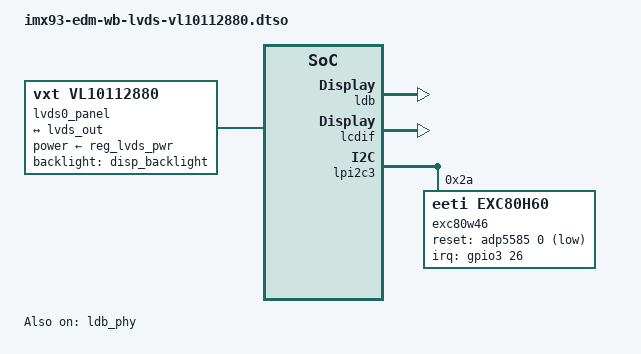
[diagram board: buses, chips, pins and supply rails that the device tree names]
// SPDX-License-Identifier: (GPL-2.0 OR MIT)
/*
 * Copyright 2024 TechNexion Ltd.
 *
 * Author: Alex Fang <alex.fang@technexion.com>
 *
 */

/dts-v1/;
/plugin/;

#include <dt-bindings/interrupt-controller/irq.h>
#include <dt-bindings/gpio/gpio.h>

&{/} {
	reg_lvds_pwr: regulator_lvdspwr {
		status = "okay";
	};

	reg_lvds_backlight_pwr: regulator_lvdsblpwr {
		status = "okay";
	};

	disp_backlight: disp_backlight {
		status = "okay";
	};

	lvds0_panel {
		compatible = "vxt,vl10112880", "panel-lvds";
		backlight = <&disp_backlight>;
		power-supply = <&reg_lvds_pwr>;

		data-mapping = "vesa-24";
		height-mm = <161>;
		width-mm = <243>;

		panel-timing {
			clock-frequency = <71100000>;
			hactive = <1280>;
			vactive = <800>;
			hback-porch = <40>;
			hfront-porch = <40>;
			vback-porch = <10>;
			vfront-porch = <3>;
			hsync-len = <80>;
			vsync-len = <10>;
			de-active = <1>;
		};

		port {
			panel_lvds_in: endpoint {
				remote-endpoint = <&lvds_out>;
			};
		};
	};
};

&ldb {
	status = "okay";
	lvds-channel@0 {
		#address-cells = <1>;
		#size-cells = <0>;
		fsl,data-mapping = "spwg";
		fsl,data-width = <24>;
		status = "okay";

		port@1 {
			reg = <1>;

			lvds_out: endpoint {
				remote-endpoint = <&panel_lvds_in>;
			};
		};
	};
};

&ldb_phy {
	status = "okay";
};

&lcdif {
	status = "okay";
	assigned-clock-rates = <498000000>, <71100000>, <400000000>, <133333333>;
};

&lpi2c3 {
	#address-cells = <1>;
	#size-cells = <0>;
	status = "okay";

	exc80w46: touchscreen@2a {
		compatible = "eeti,exc80h60";
		pinctrl-names = "default";
		pinctrl-0 = <&pinctrl_i2ctouch1>;
		reg = <0x2a>;
		interrupt-parent = <&gpio3>;
		interrupts = <26 IRQ_TYPE_LEVEL_LOW>;
		reset-gpios = <&adp5585 0 GPIO_ACTIVE_LOW>;
	};
};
